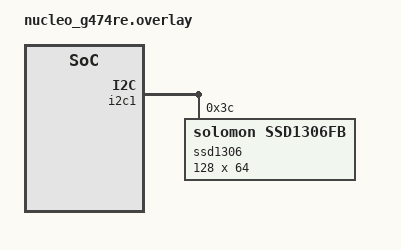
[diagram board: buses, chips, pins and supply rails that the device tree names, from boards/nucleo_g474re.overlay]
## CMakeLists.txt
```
cmake_minimum_required(VERSION 3.20.0)

find_package(Zephyr REQUIRED HINTS $ENV{ZEPHYR_BASE})
project(latency_oled)

target_sources(app PRIVATE src/main.c)
```

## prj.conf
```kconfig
# Solo ciò che serve in più rispetto al defconfig della board

CONFIG_I2C=y
CONFIG_DISPLAY=y
CONFIG_SSD1306=y
```

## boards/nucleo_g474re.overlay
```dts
/ {
    chosen {
        /* display usato di default dall'app */
        zephyr,display = &ssd1306;
    };
};

/* I2C1: PB8 = SCL, PB9 = SDA sulla Nucleo-G474RE */
&i2c1 {
    status = "okay";

    ssd1306: ssd1306@3c {
        compatible = "solomon,ssd1306fb";
        reg = <0x3c>;
        status = "okay";

        width = <128>;
        height = <64>;
        segment-offset = <0>;
        page-offset = <0>;
        display-offset = <0>;
        multiplex-ratio = <63>;
        segment-remap;
        com-invdir;
        prechargep = <0x22>;
    };
};
```

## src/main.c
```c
#include <zephyr/kernel.h>
#include <zephyr/sys/printk.h>
#include <zephyr/device.h>
#include <zephyr/devicetree.h>
#include <zephyr/drivers/gpio.h>
#include <zephyr/drivers/display.h>
#include <zephyr/sys_clock.h>

#include <stdint.h>
#include <stdio.h>
#include <string.h>
#include <limits.h>

/* ======================
 * Configurazione test
 * ====================== */
#define PERIOD_MS   500
#define N_SAMPLES   1000

/* ======================
 * LED di bordo (per debug)
 * ====================== */
#define LED0_NODE DT_ALIAS(led0)
#if !DT_NODE_HAS_STATUS(LED0_NODE, okay)
#error "No alias 'led0' found in device tree"
#endif
static const struct gpio_dt_spec led = GPIO_DT_SPEC_GET(LED0_NODE, gpios);

/* ==========================
 * Thread di carico CPU (base)
 * ========================== */

static void cpu_load_thread(void *p1, void *p2, void *p3)
{
    ARG_UNUSED(p1);
    ARG_UNUSED(p2);
    ARG_UNUSED(p3);

    volatile float x = 1.0f;

    while (1) {
        for (uint32_t i = 0U; i < 20000U; i++) {
            x = x * 1.0001f + 0.0001f;
        }
        k_yield();
    }
}

K_THREAD_STACK_DEFINE(cpu_stack, 512);
static struct k_thread cpu_thread_data;

/* ==========================
 * Mini font 5x7 per OLED
 * (solo numeri + lettere usate)
 * ========================== */

/* Font 5x7 per caratteri base: ' ', '0'-'9', 'S', 'a','m','p','l','e','u','s' */
typedef struct {
    char c;
    uint8_t data[5]; /* 5 colonne x 7 righe (LSB=top) */
} font5x7_t;

/* Definizione minima, sufficiente per "Sample N" e "XXXX us" */
static const font5x7_t font5x7_table[] = {
    { ' ', { 0x00,0x00,0x00,0x00,0x00 } },
    { '0', { 0x3E,0x51,0x49,0x45,0x3E } },
    { '1', { 0x00,0x42,0x7F,0x40,0x00 } },
    { '2', { 0x42,0x61,0x51,0x49,0x46 } },
    { '3', { 0x21,0x41,0x45,0x4B,0x31 } },
    { '4', { 0x18,0x14,0x12,0x7F,0x10 } },
    { '5', { 0x27,0x45,0x45,0x45,0x39 } },
    { '6', { 0x3C,0x4A,0x49,0x49,0x30 } },
    { '7', { 0x01,0x71,0x09,0x05,0x03 } },
    { '8', { 0x36,0x49,0x49,0x49,0x36 } },
    { '9', { 0x06,0x49,0x49,0x29,0x1E } },
    { 'S', { 0x22,0x49,0x49,0x49,0x31 } },
    { 'a', { 0x20,0x54,0x54,0x54,0x78 } },
    { 'm', { 0x7C,0x04,0x18,0x04,0x78 } },
    { 'p', { 0x7C,0x14,0x14,0x14,0x08 } },
    { 'l', { 0x00,0x44,0x7C,0x40,0x00 } },
    { 'e', { 0x38,0x54,0x54,0x54,0x18 } },
    { 'u', { 0x3C,0x40,0x40,0x20,0x7C } },
    { 's', { 0x08,0x54,0x54,0x54,0x20 } },
};

/* Cerca il carattere nella tabella font */
static const uint8_t *font5x7_get(char c)
{
    for (size_t i = 0; i < ARRAY_SIZE(font5x7_table); i++) {
        if (font5x7_table[i].c == c) {
            return font5x7_table[i].data;
        }
    }
    return font5x7_table[0].data; /* spazio di default */
}

/* ==========================
 * Funzioni helper per framebuffer
 * ========================== */

#define OLED_WIDTH   128
#define OLED_HEIGHT   64
#define FB_SIZE      (OLED_WIDTH * OLED_HEIGHT / 8)

static uint8_t fb[FB_SIZE];

static void fb_clear(void)
{
    memset(fb, 0x00, sizeof(fb));
}

/* set pixel (x,y) = 1 */
static void fb_set_pixel(int x, int y)
{
    if (x < 0 || x >= OLED_WIDTH || y < 0 || y >= OLED_HEIGHT) {
        return;
    }
    int byte_index = x + (y / 8) * OLED_WIDTH;
    int bit = y % 8;
    fb[byte_index] |= (1U << bit);
}

/* Disegna un carattere 5x7 */
static void fb_draw_char(int x, int y, char c)
{
    const uint8_t *data = font5x7_get(c);

    for (int col = 0; col < 5; col++) {
        uint8_t col_data = data[col];
        for (int row = 0; row < 7; row++) {
            if (col_data & (1U << row)) {
                fb_set_pixel(x + col, y + row);
            }
        }
    }
}

/* Disegna una stringa (spaziatura 1 colonna tra char) */
static void fb_draw_text(int x, int y, const char *s)
{
    int cursor_x = x;
    while (*s) {
        fb_draw_char(cursor_x, y, *s);
        cursor_x += 6; /* 5 colonne + 1 di spazio */
        s++;
    }
}

/* ==========================
 * Thread OLED + misura
 * ========================== */

K_THREAD_STACK_DEFINE(oled_stack, 2048);
static struct k_thread oled_thread_data;

static void oled_thread(void *p1, void *p2, void *p3)
{
    ARG_UNUSED(p1);
    ARG_UNUSED(p2);
    ARG_UNUSED(p3);

    const struct device *display =
        DEVICE_DT_GET(DT_CHOSEN(zephyr_display));

    if (!device_is_ready(display)) {
        printk("Display not ready!\n");
        return;
    }

    struct display_capabilities caps;
    display_get_capabilities(display, &caps);

    struct display_buffer_descriptor buf_desc = {
        .buf_size = sizeof(fb),
        .width    = OLED_WIDTH,
        .height   = OLED_HEIGHT,
        .pitch    = OLED_WIDTH,
    };

    fb_clear();
    display_blanking_off(display);
    display_write(display, 0, 0, &buf_desc, fb);

    printk("[Zephyr] OLED latency thread starting...\n");

    /* Parametri timing ad alta risoluzione */
    uint32_t cycles_per_sec = sys_clock_hw_cycles_per_sec();
    if (cycles_per_sec == 0U) {
        printk("sys_clock_hw_cycles_per_sec() == 0!\n");
        return;
    }
    uint32_t cycles_per_us = cycles_per_sec / 1000000U;
    if (cycles_per_us == 0U) {
        cycles_per_us = 1U;
    }

    int64_t min_us = INT64_MAX;
    int64_t max_us = INT64_MIN;
    int64_t sum_us = 0;

    /* tempo iniziale in cicli */
    uint32_t prev_cycles_32 = k_cycle_get_32();
    uint64_t prev_cycles = (uint64_t)prev_cycles_32;

    char line1[32];
    char line2[32];

    for (uint32_t i = 0; i < N_SAMPLES; i++) {

        /* dormi circa PERIOD_MS */
        k_msleep(PERIOD_MS);

        /* cicli al wake-up */
        uint32_t curr_cycles_32 = k_cycle_get_32();
        uint64_t curr_cycles = (uint64_t)curr_cycles_32;

        /* differenza in cicli con gestione wrap */
        uint64_t delta_cycles;
        if (curr_cycles >= prev_cycles) {
            delta_cycles = curr_cycles - prev_cycles;
        } else {
            delta_cycles = (uint64_t)curr_cycles + (1ULL << 32) - prev_cycles;
        }

        uint64_t interval_us = delta_cycles / (uint64_t)cycles_per_us;
        int64_t lat_us = (int64_t)interval_us - (int64_t)(PERIOD_MS * 1000);

        if (lat_us < min_us) min_us = lat_us;
        if (lat_us > max_us) max_us = lat_us;
        sum_us += lat_us;

        /* Serial print */
        printk("i=%4u, interval=%llu us, lat=%lld us\n",
               (unsigned int)i,
               (unsigned long long)interval_us,
               (long long)lat_us);

        /* LED di debug */
        gpio_pin_toggle_dt(&led);

        /* Aggiorna OLED: "Sample N" e "XXXX us" */
        fb_clear();
        snprintk(line1, sizeof(line1), "Sample %lu", (unsigned long)(i + 1));
        snprintk(line2, sizeof(line2), "%lld us", (long long)lat_us);
        fb_draw_text(0, 8, line1);
        fb_draw_text(0, 24, line2);
        display_write(display, 0, 0, &buf_desc, fb);

        prev_cycles = curr_cycles;
    }

    int64_t mean_us = sum_us / N_SAMPLES;
    int64_t jitter_us = max_us - min_us;

    printk("\n=== Zephyr OLED Latency Summary ===\n");
    printk("Period: %d ms, Samples: %d\n", PERIOD_MS, N_SAMPLES);
    printk("Mode: LOAD BASE (OLED)\n");
    printk("Min: %lld us, Max: %lld us, Mean: %lld us, Jitter: %lld us\n",
           (long long)min_us,
           (long long)max_us,
           (long long)mean_us,
           (long long)jitter_us);

    /* Messaggio finale su OLED */
    fb_clear();
    fb_draw_text(0, 8,  "Test done");
    fb_draw_text(0, 24, "See serial");
    display_write(display, 0, 0, &buf_desc, fb);

    while (1) {
        k_msleep(1000);
    }
}

/* ==========================
 * main()
 * ========================== */

int main(void)
{
    int ret;

    printk("\n[Zephyr] latency_oled starting...\n");

    /* Configura LED */
    if (!device_is_ready(led.port)) {
        printk("LED device not ready!\n");
        return 0;
    }

    ret = gpio_pin_configure_dt(&led, GPIO_OUTPUT_INACTIVE);
    if (ret < 0) {
        printk("LED config failed: %d\n", ret);
        return 0;
    }

    /* Thread di carico CPU */
    k_thread_create(&cpu_thread_data,
                    cpu_stack,
                    K_THREAD_STACK_SIZEOF(cpu_stack),
                    cpu_load_thread,
                    NULL, NULL, NULL,
                    K_PRIO_PREEMPT(8), 0, K_NO_WAIT);

    /* Thread OLED + misura */
    k_thread_create(&oled_thread_data,
                    oled_stack,
                    K_THREAD_STACK_SIZEOF(oled_stack),
                    oled_thread,
                    NULL, NULL, NULL,
                    K_PRIO_PREEMPT(7), 0, K_NO_WAIT);

    while (1) {
        k_msleep(1000);
    }

    return 0;
}
```
